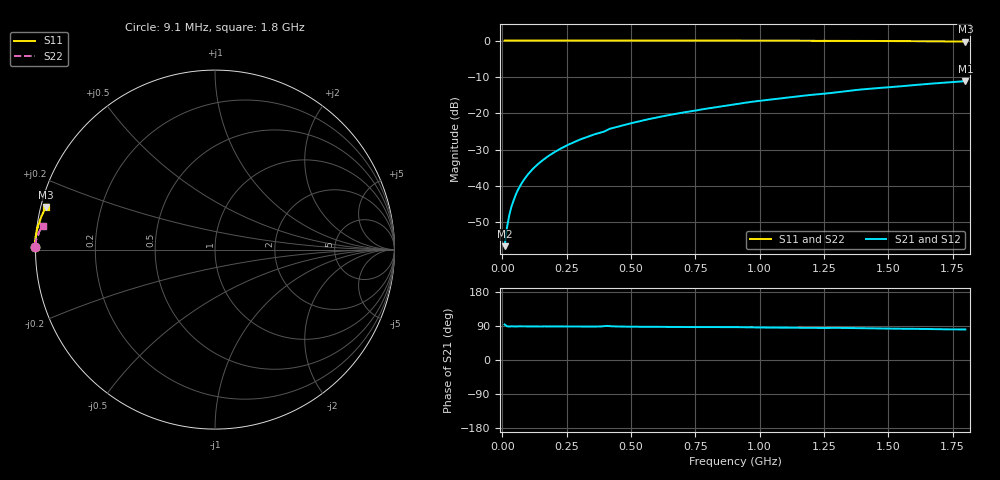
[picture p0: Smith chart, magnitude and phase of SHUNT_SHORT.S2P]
!Agilent Technologies,E5071C,MY46101151,A.11.02
!Date: Sun Sep 24 15:37:04 2017
!Data & Calibration Information:
!Freq	S11:SOLT2(ON)	S21:SOLT2(ON)	S12:SOLT2(ON)	S22:SOLT2(ON)
!PortZ  Port1:50+j0  Port2:50+j0
!Above PortZ is port z conversion or system Z0 setting when saving the data.
!When reading, reference impedance value at option line is always used.
# Hz S RI R 50
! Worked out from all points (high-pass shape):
!   200 points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, 9.1 MHz to 1.8 GHz, reference 50 ohm
!   highest |S21| = -11.13 dB at 1.8 GHz (marker M1); lowest = -56.5 dB at 9.1 MHz (marker M2)
!   |S21| within 3 dB of the highest: 1.311 GHz to end of sweep
!   lowest |S11| = -0.3 dB at 1.8 GHz (marker M3), VSWR 64.49, Z = 0.787 + j6.21 ohm
!   |S11| at or under -10 dB: nowhere
!   |S22| runs from -0.3 to 0.0 dB; largest |S21 - S12| = 0.00095
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9099500  -1.001 0.0141  -9.58e-05 0.00148  2.78e-05 0.00123  -1 0.0137
1.8099e7  -1.002 0.00949  4.4e-05 0.00266  9.63e-05 0.00268  -1.001 0.00859
2.70985e7  -1.002 0.00823  0.000122 0.00396  3.61e-05 0.00391  -1.001 0.00647
3.6098e7  -1.002 0.00837  8.6e-05 0.00526  0.000116 0.00529  -1.001 0.00593
4.50975e7  -1.002 0.0084  0.000164 0.00647  0.000142 0.00658  -1.001 0.00614
5.4097e7  -1.002 0.00857  0.000209 0.00785  0.000154 0.00788  -1.001 0.00695
6.30965e7  -1.002 0.00898  0.000192 0.00914  0.000212 0.00916  -1.002 0.00664
9.0095e7  -1.002 0.0112  0.000259 0.013  0.000324 0.0131  -1.001 0.00656
1.26093e8  -1.001 0.0152  0.000423 0.0182  0.000352 0.0183  -1.001 0.00868
1.530915e8  -1 0.0173  0.000606 0.022  0.000487 0.0221  -1 0.00925
1.8009e8  -1.002 0.0188  0.000648 0.0259  0.00067 0.0259  -1.001 0.011
2.34087e8  -1.001 0.0231  0.000887 0.0336  0.000886 0.0339  -1.002 0.0124
3.150825e8  -1.002 0.0306  0.00131 0.0452  0.00133 0.0453  -1.002 0.0147
3.96078e8  -1.001 0.0381  0.000568 0.0561  0.000527 0.0563  -1.001 0.018
4.230765e8  -1.001 0.0375  0.00104 0.0619  0.00113 0.0621  -1.001 0.0183
5.22071e8  -1.002 0.0483  0.00298 0.076  0.00303 0.0761  -1.002 0.0225
6.12066e8  -1.001 0.0575  0.00403 0.0891  0.00383 0.0894  -1.001 0.0259
9.090495e8  -0.996 0.0903  0.00757 0.1339  0.00726 0.1342  -0.9976 0.0422
1.206033e9  -0.9866 0.1317  0.0163 0.1791  0.016 0.1797  -0.9927 0.0671
1.395022e9  -0.9758 0.1627  0.0229 0.2113  0.0225 0.2111  -0.9848 0.0834
1.503016e9  -0.9684 0.1818  0.029 0.226  0.029 0.2265  -0.9805 0.0968
1.8e9  -0.94 0.2373  0.0452 0.274  0.0453 0.2738  -0.9603 0.133
